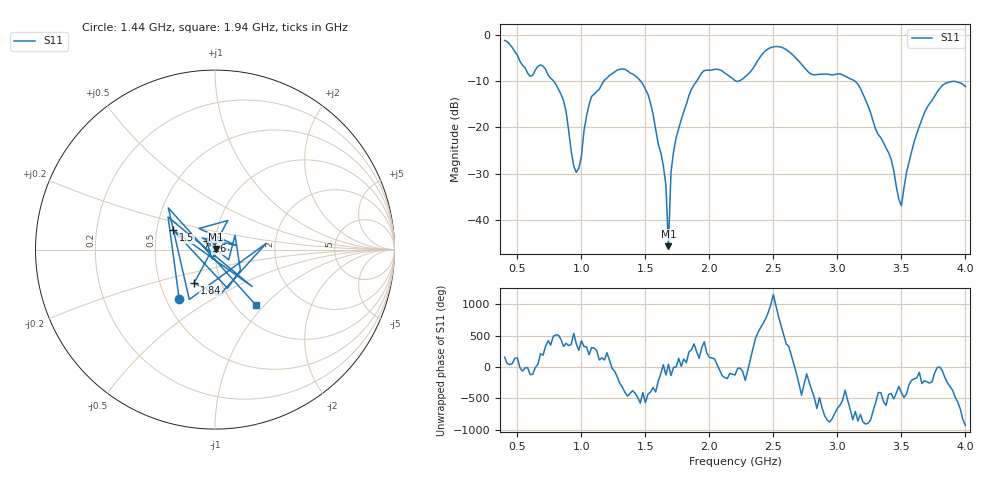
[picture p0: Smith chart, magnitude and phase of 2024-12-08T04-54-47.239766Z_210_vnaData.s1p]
!Created with skrf (http://scikit-rf.org).
# Hz S RI R 50.0
!freq ReS11 ImS11
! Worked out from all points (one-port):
!   181 points, 400 MHz to 4 GHz, reference 50 ohm
!   lowest |S11| = -45.7 dB at 1.68 GHz (marker M1), VSWR 1.01, Z = 50.4 + j0.349 ohm
!   |S11| at or under -10 dB: 782.3 MHz to 1.175 GHz (393.1 MHz wide, 40.2 % of centre); 1.461 GHz to 1.902 GHz (440.7 MHz wide, 26.2 % of centre); 3.134 GHz to end of sweep (the widest 3 of 4)
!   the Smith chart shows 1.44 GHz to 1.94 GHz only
!   S11 on the Smith chart (normalised r, x): 1.44 GHz: 0.58, -0.37; 1.5 GHz: 0.61, +0.14; 1.6 GHz: 0.91, +0.09; 1.84 GHz: 0.74, -0.29; 1.94 GHz: 1.23, -0.90
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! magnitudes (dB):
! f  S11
! 400 MHz  -1.3
! 600 MHz  -9.0
! 700 MHz  -6.8
! 860 MHz  -14.2
! 960 MHz  -29.7
! 1.08 GHz  -13.3
! 1.3 GHz  -7.5
! 1.44 GHz  -9.3
! 1.5 GHz  -11.8
! 1.6 GHz  -23.5
! 1.66 GHz  -32.5
! 1.68 GHz  -45.7
! 1.7 GHz  -29.7
! 1.76 GHz  -20.3
! 1.84 GHz  -13.2
! 1.94 GHz  -8.3
! 2.2 GHz  -9.9
! 2.48 GHz  -2.8
! 2.66 GHz  -4.6
! 2.8 GHz  -8.6
! 3.1 GHz  -9.5
! 3.18 GHz  -11.6
! 3.4 GHz  -25.5
! 3.5 GHz  -36.9
! 3.56 GHz  -27.5
! 3.68 GHz  -16.9
! 3.8 GHz  -11.6
! 4 GHz  -11.2
